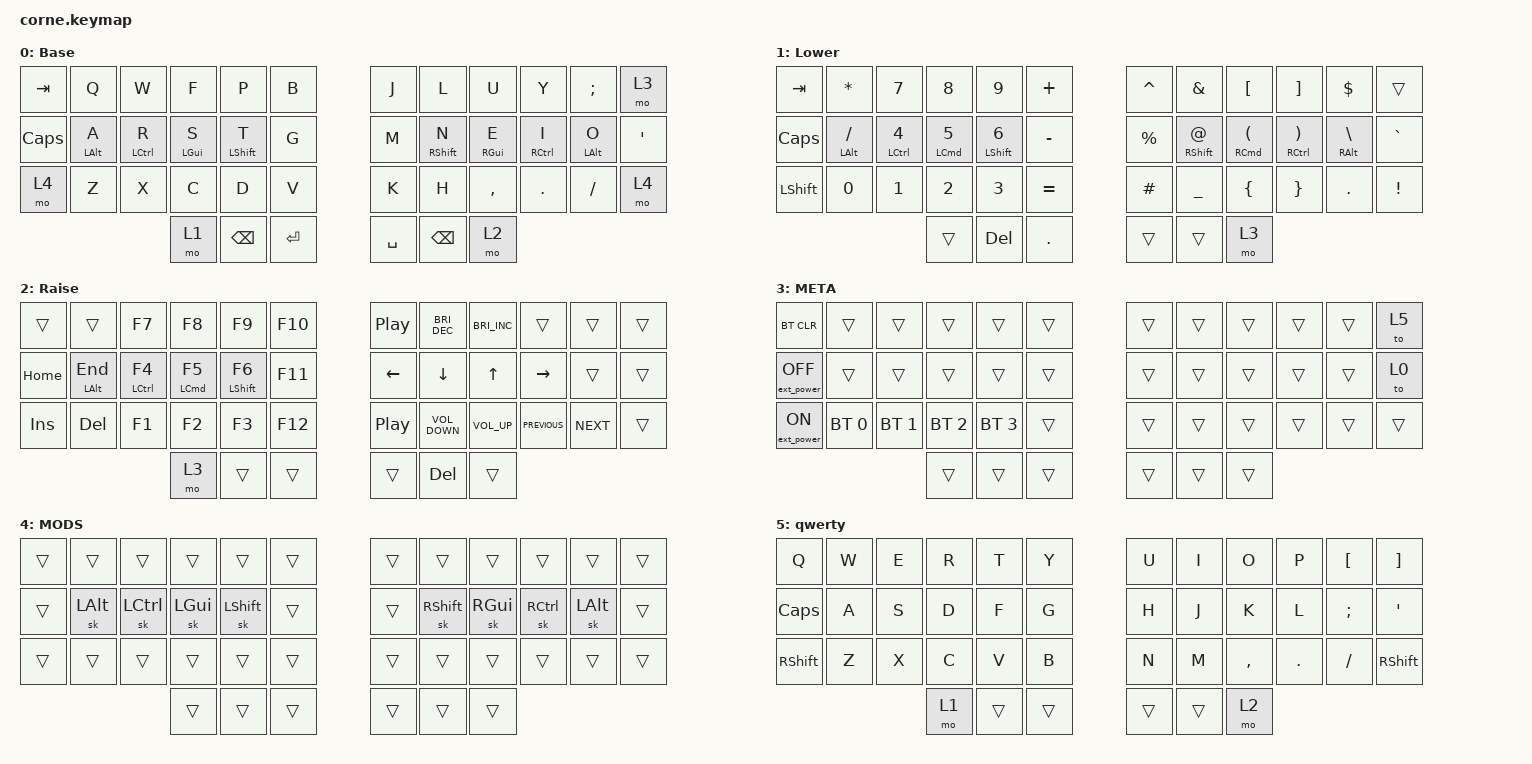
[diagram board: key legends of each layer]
/*
 * Copyright (c) 2020 The ZMK Contributors
 *
 * SPDX-License-Identifier: MIT
 */

#include <behaviors.dtsi>
#include <dt-bindings/zmk/bt.h>
#include <dt-bindings/zmk/ext_power.h>
#include <dt-bindings/zmk/keys.h>

/ {
    combos {
        compatible = "zmk,combos";

        qwerty {
            bindings = <&mo 3>;
            key-positions = <36 36 41>;
            layers = <1 2 0 3>;
        };
    };

    behaviors {
        rpi: require_prior_idle {
            compatible = "zmk,behavior-hold-tap";
            #binding-cells = <2>;
            flavor = "tap-preferred";
            tapping-term-ms = <150>;
            require-prior-idle-ms = <200>;
            bindings = <&kp>, <&kp>;
        };
    };

    keymap {
        compatible = "zmk,keymap";

        default_layer {
            // -----------------------------------------------------------------------------------------
            // |  TAB |  Q  |  W  |  E  |  R  |  T  |   |  Y  |  U   |  I  |  O  |  P  | BKSP |
            // | CAPS |  A  |  S  |  D  |  F  |  G  |   |  H  |  J   |  K  |  L  |  ;  |  '   |
            // | SHFT |  Z  |  X  |  C  |  V  |  B  |   |  N  |  M   |  ,  |  .  |  /  | CTRL |
            //                    | CMD | LWR | RET |   | SPC | RSE  | ALT |

            display-name = "Base";
            bindings = <
&kp TAB   &kp Q            &kp W                &kp F            &kp P              &kp B      &kp J      &kp L               &kp U             &kp Y                 &kp SEMICOLON    &mo 3
&kp CAPS  &rpi LEFT_ALT A  &rpi LEFT_CONTROL R  &rpi LEFT_GUI S  &rpi LEFT_SHIFT T  &kp G      &kp M      &rpi RIGHT_SHIFT N  &rpi RIGHT_GUI E  &rpi RIGHT_CONTROL I  &rpi LEFT_ALT O  &kp SQT
&mo 4     &kp Z            &kp X                &kp C            &kp D              &kp V      &kp K      &kp H               &kp COMMA         &kp DOT               &kp FSLH         &mo 4
                                                &mo 1            &kp BACKSPACE      &kp RET    &kp SPACE  &kp BSPC            &mo 2
            >;
        };

        lower_layer {
            // -----------------------------------------------------------------------------------------
            // |  TAB |  1  |  2  |  3  |  4  |  5  |   |  6  |  7  |  8  |  9  |  0  | BKSP |
            // | CAPS | BT1 | BT2 | BT3 | BT4 | BT5 |   | LFT | DWN |  UP | RGT |     |      |
            // | SHFT |     |     |     |     |     |   |     |     |     |     |     |      |
            //                    | GUI |     | SPC |   | ENT |     | ALT |

            display-name = "Lower";
            bindings = <
&kp TAB    &kp STAR            &kp N7                &kp N8                &kp N9         &kp PLUS      &kp CARET    &kp AMPS            &kp LBKT                             &kp RBKT                 &kp DOLLAR           &trans
&kp CAPS   &rpi LEFT_ALT FSLH  &rpi LEFT_CONTROL N4  &rpi LEFT_COMMAND N5  &rpi LSHFT N6  &kp MINUS     &kp PERCENT  &rpi RSHFT AT_SIGN  &rpi RIGHT_COMMAND LEFT_PARENTHESIS  &rpi RIGHT_CONTROL RPAR  &rpi RIGHT_ALT BSLH  &kp GRAVE
&kp LSHFT  &kp N0              &kp N1                &kp N2                &kp N3         &kp EQUAL     &kp HASH     &kp UNDER           &kp LBRC                             &kp RBRC                 &kp PERIOD           &kp EXCL
                                                     &trans                &kp DEL        &kp PERIOD    &trans       &trans              &mo 3
            >;
        };

        nav_media {
            // -----------------------------------------------------------------------------------------
            // |  TAB |  !  |  @  |  #  |  $  |  %  |   |  ^  |  &  |  *  |  (  |  )  | BKSP |
            // | CAPS |     |     |     |     |     |   |  -  |  =  |  [  |  ]  |  \  |  `   |
            // | SHFT |     |     |     |     |     |   |  _  |  +  |  {  |  }  | "|" |  ~   |
            //                    | GUI |     | SPC |   | ENT |     | ALT |

            display-name = "Raise";
            bindings = <
&trans    &trans             &kp F7                &kp F8        &kp F9              &kp F10    &kp C_PLAY_PAUSE  &kp C_BRIGHTNESS_DEC  &kp C_BRIGHTNESS_INC  &trans          &trans      &trans
&kp HOME  &rpi LEFT_ALT END  &rpi LEFT_CONTROL F4  &rpi LCMD F5  &rpi LEFT_SHIFT F6  &kp F11    &kp LEFT          &kp DOWN              &kp UP                &kp RIGHT       &trans      &trans
&kp INS   &kp DEL            &kp F1                &kp F2        &kp F3              &kp F12    &kp C_PLAY_PAUSE  &kp C_VOLUME_DOWN     &kp C_VOLUME_UP       &kp C_PREVIOUS  &kp C_NEXT  &trans
                                                   &mo 3         &trans              &trans     &trans            &kp DELETE            &trans
            >;
        };

        META {
            bindings = <
&bt BT_CLR         &trans        &trans        &trans        &trans        &trans    &trans  &trans  &trans  &trans  &trans  &to 5
&ext_power EP_OFF  &trans        &trans        &trans        &trans        &trans    &trans  &trans  &trans  &trans  &trans  &to 0
&ext_power EP_ON   &bt BT_SEL 0  &bt BT_SEL 1  &bt BT_SEL 2  &bt BT_SEL 3  &trans    &trans  &trans  &trans  &trans  &trans  &trans
                                               &trans        &trans        &trans    &trans  &trans  &trans
            >;
        };

        MODS {
            bindings = <
&trans  &trans    &trans     &trans    &trans     &trans    &trans  &trans     &trans    &trans     &trans    &trans
&trans  &sk LALT  &sk LCTRL  &sk LGUI  &sk LSHFT  &trans    &trans  &sk RSHFT  &sk RGUI  &sk RCTRL  &sk LALT  &trans
&trans  &trans    &trans     &trans    &trans     &trans    &trans  &trans     &trans    &trans     &trans    &trans
                             &trans    &trans     &trans    &trans  &trans     &trans
            >;
        };

        qwerty {
            bindings = <
&kp Q      &kp W  &kp E  &kp R  &kp T   &kp Y     &kp U   &kp I   &kp O      &kp P    &kp LBKT  &kp RBKT
&kp CAPS   &kp A  &kp S  &kp D  &kp F   &kp G     &kp H   &kp J   &kp K      &kp L    &kp SEMI  &kp SQT
&kp RSHFT  &kp Z  &kp X  &kp C  &kp V   &kp B     &kp N   &kp M   &kp COMMA  &kp DOT  &kp FSLH  &kp RSHFT
                         &mo 1  &trans  &trans    &trans  &trans  &mo 2
            >;
        };
    };
};
